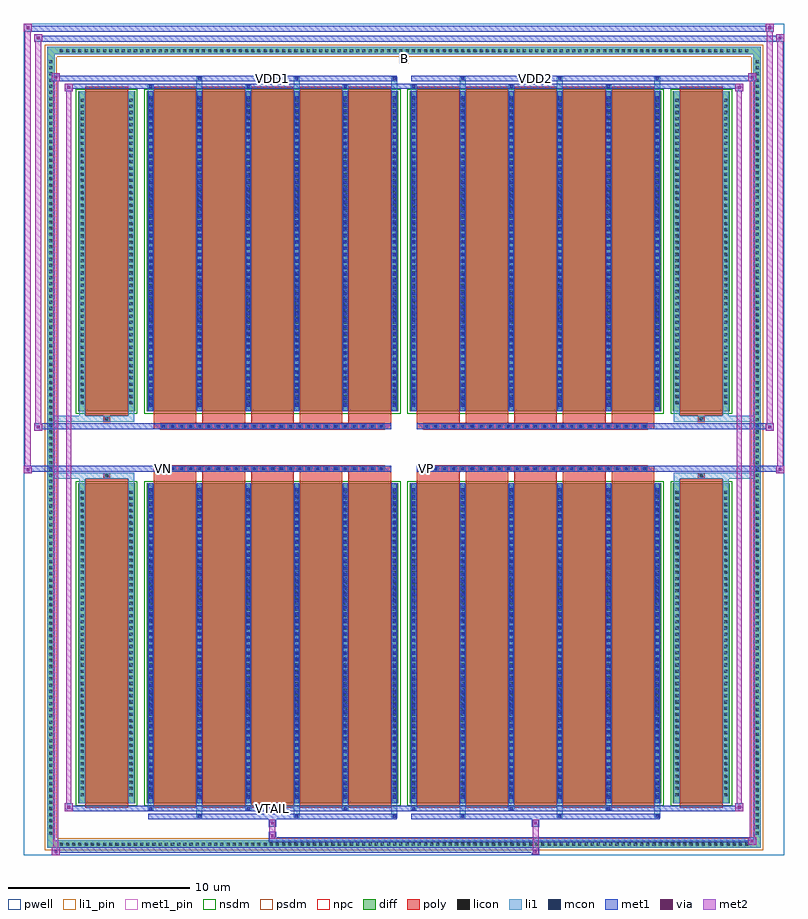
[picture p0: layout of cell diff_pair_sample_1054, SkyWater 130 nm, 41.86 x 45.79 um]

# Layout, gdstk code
import gdstk
lib = gdstk.Library(unit=1e-6, precision=5e-09)
def R(c, l, rs):  # rectangles x0, y0, x1, y1
    for r in rs: c.add(gdstk.rectangle(r[:2], r[2:], *l))
def A(c, l, x, y, w, h, nx, ny, dx, dy):  # array of equal rectangles
    R(c, l, [(x+i*dx, y+j*dy, x+i*dx+w, y+j*dy+h) for i in range(nx) for j in range(ny)])
def P(c, l, *ps):  # polygons
    for p in ps: c.add(gdstk.Polygon(p, *l))
pwell = (64, 44)
diff = (65, 20)
poly = (66, 20)
licon = (66, 44)
li1_pin = (67, 16)
li1 = (67, 20)
mcon = (67, 44)
met1_pin = (68, 16)
met1 = (68, 20)
via = (68, 44)
met2 = (69, 20)
nsdm = (93, 44)
psdm = (94, 20)
npc = (95, 20)

diff_pair_sample_1054 = lib.new_cell('diff_pair_sample_1054')
R(diff_pair_sample_1054, pwell, [(-20.93,-22.46,20.93,23.33), (-18.25,-20.65,-0.01,-0.805), (0.01,-20.65,18.25,-0.805), (-18.25,0.805,-0.01,20.65), (0.01,0.805,18.25,20.65)])
A(diff_pair_sample_1054, diff, -19.075, -22.06, 0.41, 0.41, 112, 2, 0.34, 43.71)
A(diff_pair_sample_1054, diff, -19.66, -21.455, 0.41, 0.41, 1, 126, 0, 0.34)
A(diff_pair_sample_1054, diff, 19.25, -21.455, 0.41, 0.41, 1, 126, 0, 0.34)
R(diff_pair_sample_1054, diff, [(-19.075,-22.06,19.075,-21.65), (-19.66,-21.455,-19.25,21.455), (19.25,-21.455,19.66,21.455), (-17.94,-19.605,-14.81,-1.985), (-14.17,-19.605,-0.32,-1.985), (0.32,-19.605,14.17,-1.985), (14.81,-19.605,17.94,-1.985), (-17.94,1.985,-14.81,19.605), (-14.17,1.985,-0.32,19.605), (0.32,1.985,14.17,19.605), (14.81,1.985,17.94,19.605), (-19.075,21.65,19.075,22.06)])
P(diff_pair_sample_1054, diff, [(19.66,22.06),(-19.66,22.06),(-19.66,-21.65),(-19.25,-21.65),(-19.25,21.65),(19.25,21.65),(19.25,-21.65),(-19.25,-21.65),(-19.66,-21.65),(-19.66,-22.06),(19.66,-22.06)])
A(diff_pair_sample_1054, poly, -13.78, -19.855, 2.35, 18.12, 5, 2, 2.68, 21.59)
A(diff_pair_sample_1054, poly, 0.71, -19.855, 2.35, 18.12, 5, 2, 2.68, 21.59)
A(diff_pair_sample_1054, poly, -13.78, -1.735, 2.35, 0.4, 5, 2, 2.68, 3.07)
A(diff_pair_sample_1054, poly, 0.71, -1.735, 2.35, 0.4, 5, 2, 2.68, 3.07)
A(diff_pair_sample_1054, poly, -13.41, -1.335, 0.33, 0.33, 25, 2, 0.5, 2.34)
A(diff_pair_sample_1054, poly, 1.08, -1.335, 0.33, 0.33, 25, 2, 0.5, 2.34)
R(diff_pair_sample_1054, poly, [(-17.55,-19.855,-15.2,-1.735), (15.2,-19.855,17.55,-1.735), (-16.54,-1.735,-16.21,-1.405), (-16.54,-1.735,-16.21,-1.405), (16.21,-1.735,16.54,-1.405), (16.21,-1.735,16.54,-1.405), (-13.78,-1.335,-0.71,-1.005), (0.71,-1.335,13.78,-1.005), (-13.78,1.005,-0.71,1.335), (0.71,1.005,13.78,1.335), (-16.54,1.405,-16.21,1.735), (-16.54,1.405,-16.21,1.735), (16.21,1.405,16.54,1.735), (16.21,1.405,16.54,1.735), (-17.55,1.735,-15.2,19.855), (15.2,1.735,17.55,19.855)])
A(diff_pair_sample_1054, licon, -18.955, -21.94, 0.17, 0.17, 112, 2, 0.34, 43.71)
A(diff_pair_sample_1054, licon, -19.54, -21.335, 0.17, 0.17, 1, 126, 0, 0.34)
A(diff_pair_sample_1054, licon, 19.37, -21.335, 0.17, 0.17, 1, 126, 0, 0.34)
A(diff_pair_sample_1054, licon, -17.8, -19.21, 0.17, 0.17, 1, 50, 0, 0.34)
A(diff_pair_sample_1054, licon, -15.12, -19.21, 0.17, 0.17, 1, 50, 0, 0.34)
A(diff_pair_sample_1054, licon, -14.03, -19.21, 0.17, 0.17, 6, 50, 2.68, 0.34)
A(diff_pair_sample_1054, licon, 0.46, -19.21, 0.17, 0.17, 6, 50, 2.68, 0.34)
A(diff_pair_sample_1054, licon, 14.95, -19.21, 0.17, 0.17, 1, 50, 0, 0.34)
A(diff_pair_sample_1054, licon, 17.63, -19.21, 0.17, 0.17, 1, 50, 0, 0.34)
A(diff_pair_sample_1054, licon, -13.33, -1.255, 0.17, 0.17, 25, 2, 0.5, 2.34)
A(diff_pair_sample_1054, licon, 1.16, -1.255, 0.17, 0.17, 25, 2, 0.5, 2.34)
A(diff_pair_sample_1054, licon, -17.8, 2.38, 0.17, 0.17, 1, 50, 0, 0.34)
A(diff_pair_sample_1054, licon, -15.12, 2.38, 0.17, 0.17, 1, 50, 0, 0.34)
A(diff_pair_sample_1054, licon, -14.03, 2.38, 0.17, 0.17, 6, 50, 2.68, 0.34)
A(diff_pair_sample_1054, licon, 0.46, 2.38, 0.17, 0.17, 6, 50, 2.68, 0.34)
A(diff_pair_sample_1054, licon, 14.95, 2.38, 0.17, 0.17, 1, 50, 0, 0.34)
A(diff_pair_sample_1054, licon, 17.63, 2.38, 0.17, 0.17, 1, 50, 0, 0.34)
R(diff_pair_sample_1054, licon, [(-16.46,-1.655,-16.29,-1.485), (16.29,-1.655,16.46,-1.485), (-16.46,1.485,-16.29,1.655), (16.29,1.485,16.46,1.655)])
R(diff_pair_sample_1054, li1_pin, [(-0.25,21.15,0.25,21.65)])
A(diff_pair_sample_1054, li1, -19.035, -22.02, 0.33, 0.33, 112, 2, 0.34, 43.71)
A(diff_pair_sample_1054, li1, -19.62, -21.415, 0.33, 0.33, 1, 126, 0, 0.34)
A(diff_pair_sample_1054, li1, 19.29, -21.415, 0.33, 0.33, 1, 126, 0, 0.34)
A(diff_pair_sample_1054, li1, -11.43, -20.41, 0.33, 0.805, 3, 2, 5.36, 40.015)
A(diff_pair_sample_1054, li1, -11.35, -20.41, 0.17, 0.17, 3, 2, 5.36, 40.65)
A(diff_pair_sample_1054, li1, 3.06, -20.41, 0.33, 0.805, 3, 2, 5.36, 40.015)
A(diff_pair_sample_1054, li1, 3.14, -20.41, 0.17, 0.17, 3, 2, 5.36, 40.65)
A(diff_pair_sample_1054, li1, -14.11, -19.98, 0.33, 0.375, 3, 2, 5.36, 39.585)
A(diff_pair_sample_1054, li1, -14.03, -19.98, 0.17, 0.17, 3, 2, 5.36, 39.79)
A(diff_pair_sample_1054, li1, 0.38, -19.98, 0.33, 0.375, 3, 2, 5.36, 39.585)
A(diff_pair_sample_1054, li1, 0.46, -19.98, 0.17, 0.17, 3, 2, 5.36, 39.79)
A(diff_pair_sample_1054, li1, -14.11, -19.605, 0.33, 17.62, 6, 2, 2.68, 21.59)
A(diff_pair_sample_1054, li1, 0.38, -19.605, 0.33, 17.62, 6, 2, 2.68, 21.59)
A(diff_pair_sample_1054, li1, -14.03, -19.34, 0.17, 0.17, 6, 48, 2.68, 0.36)
A(diff_pair_sample_1054, li1, -14.03, -19.34, 0.17, 17.09, 6, 2, 2.68, 21.59)
A(diff_pair_sample_1054, li1, 0.46, -19.34, 0.17, 0.17, 6, 48, 2.68, 0.36)
A(diff_pair_sample_1054, li1, 0.46, -19.34, 0.17, 17.09, 6, 2, 2.68, 21.59)
A(diff_pair_sample_1054, li1, -17.88, -19.29, 0.33, 0.33, 1, 50, 0, 0.34)
A(diff_pair_sample_1054, li1, -15.2, -19.29, 0.33, 0.33, 1, 50, 0, 0.34)
A(diff_pair_sample_1054, li1, -14.11, -19.29, 0.33, 0.33, 6, 50, 2.68, 0.34)
A(diff_pair_sample_1054, li1, 0.38, -19.29, 0.33, 0.33, 6, 50, 2.68, 0.34)
A(diff_pair_sample_1054, li1, 14.87, -19.29, 0.33, 0.33, 1, 50, 0, 0.34)
A(diff_pair_sample_1054, li1, 17.55, -19.29, 0.33, 0.33, 1, 50, 0, 0.34)
A(diff_pair_sample_1054, li1, -13.41, -1.335, 0.33, 0.33, 25, 2, 0.5, 2.34)
A(diff_pair_sample_1054, li1, 1.08, -1.335, 0.33, 0.33, 25, 2, 0.5, 2.34)
A(diff_pair_sample_1054, li1, -14.03, 2.25, 0.17, 0.17, 6, 48, 2.68, 0.36)
A(diff_pair_sample_1054, li1, 0.46, 2.25, 0.17, 0.17, 6, 48, 2.68, 0.36)
A(diff_pair_sample_1054, li1, -17.88, 2.3, 0.33, 0.33, 1, 50, 0, 0.34)
A(diff_pair_sample_1054, li1, -15.2, 2.3, 0.33, 0.33, 1, 50, 0, 0.34)
A(diff_pair_sample_1054, li1, -14.11, 2.3, 0.33, 0.33, 6, 50, 2.68, 0.34)
A(diff_pair_sample_1054, li1, 0.38, 2.3, 0.33, 0.33, 6, 50, 2.68, 0.34)
A(diff_pair_sample_1054, li1, 14.87, 2.3, 0.33, 0.33, 1, 50, 0, 0.34)
A(diff_pair_sample_1054, li1, 17.55, 2.3, 0.33, 0.33, 1, 50, 0, 0.34)
R(diff_pair_sample_1054, li1, [(-19.66,-22.06,-19.25,-21.65), (-19.66,-22.06,-19.25,-21.65), (-19.25,-22.06,19.25,-21.65), (19.25,-22.06,19.66,-21.65), (19.25,-22.06,19.66,-21.65), (-19.66,-21.65,-19.25,21.65), (19.25,-21.65,19.66,21.65), (-17.88,-19.605,-17.55,-1.985), (-15.2,-19.605,-14.87,-1.985), (14.87,-19.605,15.2,-1.985), (17.55,-19.605,17.88,-1.985), (-17.88,-1.985,-17.55,-1.405), (-15.2,-1.985,-14.87,-1.405), (14.87,-1.985,15.2,-1.405), (17.55,-1.985,17.88,-1.405), (-19.66,-1.735,-16.54,-1.405), (-17.88,-1.735,-16.54,-1.405), (-16.54,-1.735,-16.21,-1.405), (-16.21,-1.735,-14.87,-1.405), (14.87,-1.735,16.21,-1.405), (16.21,-1.735,16.54,-1.405), (16.21,-1.735,19.66,-1.405), (16.54,-1.735,17.88,-1.405), (-19.66,1.405,-16.54,1.735), (-17.88,1.405,-16.54,1.735), (-17.88,1.405,-17.55,1.985), (-16.54,1.405,-16.21,1.735), (-16.21,1.405,-14.87,1.735), (-15.2,1.405,-14.87,1.985), (14.87,1.405,16.21,1.735), (14.87,1.405,15.2,1.985), (16.21,1.405,16.54,1.735), (16.21,1.405,19.66,1.735), (16.54,1.405,17.88,1.735), (17.55,1.405,17.88,1.985), (-17.88,1.985,-17.55,19.605), (-15.2,1.985,-14.87,19.605), (14.87,1.985,15.2,19.605), (17.55,1.985,17.88,19.605), (-19.66,21.65,-19.25,22.06), (-19.66,21.65,-19.25,22.06), (-19.25,21.65,19.25,22.06), (19.25,21.65,19.66,22.06), (19.25,21.65,19.66,22.06)])
A(diff_pair_sample_1054, mcon, -11.35, -20.41, 0.17, 0.17, 3, 2, 5.36, 40.65)
A(diff_pair_sample_1054, mcon, 3.14, -20.41, 0.17, 0.17, 3, 2, 5.36, 40.65)
A(diff_pair_sample_1054, mcon, -14.03, -19.98, 0.17, 0.17, 3, 2, 5.36, 39.79)
A(diff_pair_sample_1054, mcon, 0.46, -19.98, 0.17, 0.17, 3, 2, 5.36, 39.79)
A(diff_pair_sample_1054, mcon, -14.03, -19.34, 0.17, 0.17, 6, 48, 2.68, 0.36)
A(diff_pair_sample_1054, mcon, 0.46, -19.34, 0.17, 0.17, 6, 48, 2.68, 0.36)
A(diff_pair_sample_1054, mcon, -13.33, -1.255, 0.17, 0.17, 25, 2, 0.5, 2.34)
A(diff_pair_sample_1054, mcon, 1.16, -1.255, 0.17, 0.17, 25, 2, 0.5, 2.34)
A(diff_pair_sample_1054, mcon, -14.03, 2.25, 0.17, 0.17, 6, 48, 2.68, 0.36)
A(diff_pair_sample_1054, mcon, 0.46, 2.25, 0.17, 0.17, 6, 48, 2.68, 0.36)
R(diff_pair_sample_1054, met1_pin, [(-7.38,-20.02,-7.11,-19.75), (-13.38,-1.295,-13.11,-1.025), (1.11,-1.295,1.38,-1.025), (-7.38,20.2,-7.11,20.47), (7.11,20.2,7.38,20.47)])
A(diff_pair_sample_1054, met1, -11.41, -20.47, 0.29, 0.29, 3, 2, 5.36, 40.65)
A(diff_pair_sample_1054, met1, 3.08, -20.47, 0.29, 0.29, 3, 2, 5.36, 40.65)
A(diff_pair_sample_1054, met1, -14.09, -20.04, 0.29, 0.29, 3, 2, 5.36, 39.79)
A(diff_pair_sample_1054, met1, 0.4, -20.04, 0.29, 0.29, 3, 2, 5.36, 39.79)
A(diff_pair_sample_1054, met1, -14.09, -19.605, 0.29, 17.62, 6, 2, 2.68, 21.59)
A(diff_pair_sample_1054, met1, 0.4, -19.605, 0.29, 17.62, 6, 2, 2.68, 21.59)
A(diff_pair_sample_1054, met1, -14.09, -19.4, 0.29, 0.29, 6, 48, 2.68, 0.36)
A(diff_pair_sample_1054, met1, 0.4, -19.4, 0.29, 0.29, 6, 48, 2.68, 0.36)
A(diff_pair_sample_1054, met1, -13.39, -1.315, 0.29, 0.29, 25, 2, 0.5, 2.34)
A(diff_pair_sample_1054, met1, 1.1, -1.315, 0.29, 0.29, 25, 2, 0.5, 2.34)
A(diff_pair_sample_1054, met1, -14.09, 2.19, 0.29, 0.29, 6, 48, 2.68, 0.36)
A(diff_pair_sample_1054, met1, 0.4, 2.19, 0.29, 0.29, 6, 48, 2.68, 0.36)
R(diff_pair_sample_1054, met1, [(-19.39,-22.46,-18.96,-22.03), (7.03,-22.46,7.46,-22.03), (-19.39,-22.32,7.46,-22.03), (18.96,-21.89,19.39,-21.46), (-7.46,-21.75,19.39,-21.46), (-7.46,-21.61,-7.03,-21.18), (-7.46,-20.9,-7.03,-20.47), (7.03,-20.9,7.46,-20.47), (-14.09,-20.47,-0.4,-20.18), (0.4,-20.47,14.09,-20.18), (-18.68,-20.04,-18.25,-19.61), (-18.68,-20.04,-14.09,-19.75), (-14.09,-20.04,-0.4,-19.75), (-0.4,-20.04,0.4,-19.75), (0.4,-20.04,14.09,-19.75), (14.09,-20.04,18.68,-19.75), (18.25,-20.04,18.68,-19.61), (-20.93,-1.435,-20.5,-1.005), (20.5,-1.435,20.93,-1.005), (-20.93,-1.335,-0.71,-1.005), (-13.78,-1.335,-0.71,-1.005), (0.71,-1.335,13.78,-1.005), (0.71,-1.335,20.93,-1.005), (-20.36,0.905,-19.93,1.335), (19.93,0.905,20.36,1.335), (-20.36,1.005,-13.78,1.335), (-13.78,1.005,-0.71,1.335), (0.71,1.005,13.78,1.335), (13.78,1.005,20.36,1.335), (-18.68,19.61,-18.25,20.04), (18.25,19.61,18.68,20.04), (-18.68,19.75,-14.09,20.04), (-14.09,19.75,-0.4,20.04), (-0.4,19.75,0.4,20.04), (0.4,19.75,14.09,20.04), (14.09,19.75,18.68,20.04), (-19.39,20.18,-18.96,20.61), (-19.39,20.18,-14.09,20.47), (-14.09,20.18,-0.4,20.47), (0.4,20.18,14.09,20.47), (14.09,20.18,19.39,20.47), (18.96,20.18,19.39,20.61), (-20.36,22.33,-19.93,22.76), (-20.36,22.33,-18.25,22.66), (-18.25,22.33,18.25,22.66), (18.25,22.33,20.93,22.66), (20.5,22.33,20.93,22.76), (-20.93,22.9,-20.5,23.33), (-20.93,22.9,-18.25,23.23), (-18.25,22.9,18.25,23.23), (18.25,22.9,20.36,23.23), (19.93,22.9,20.36,23.33)])
R(diff_pair_sample_1054, via, [(-19.25,-22.32,-19.1,-22.17), (7.17,-22.32,7.32,-22.17), (19.1,-21.75,19.25,-21.6), (-7.32,-21.47,-7.17,-21.32), (-7.32,-20.76,-7.17,-20.61), (7.17,-20.76,7.32,-20.61), (-18.54,-19.9,-18.39,-19.75), (18.39,-19.9,18.54,-19.75), (-20.79,-1.295,-20.64,-1.145), (20.64,-1.295,20.79,-1.145), (-20.22,1.045,-20.07,1.195), (20.07,1.045,20.22,1.195), (-18.54,19.75,-18.39,19.9), (18.39,19.75,18.54,19.9), (-19.25,20.32,-19.1,20.47), (19.1,20.32,19.25,20.47), (-20.22,22.47,-20.07,22.62), (20.64,22.47,20.79,22.62), (-20.79,23.04,-20.64,23.19), (20.07,23.04,20.22,23.19)])
R(diff_pair_sample_1054, met2, [(-19.39,-22.46,-18.96,-22.03), (-19.32,-22.46,-19.03,20.61), (-19.03,-22.46,-18.96,-22.03), (-19.34,-22.41,-19.01,-22.08), (7.08,-22.41,7.41,-22.08), (7.08,-22.08,7.41,-20.85), (18.96,-21.89,19.39,-21.46), (19.03,-21.89,19.32,20.61), (19.32,-21.89,19.39,-21.46), (19.01,-21.84,19.34,-21.51), (-7.41,-21.56,-7.08,-21.23), (-7.41,-21.23,-7.08,-20.85), (-7.41,-20.85,-7.08,-20.52), (7.08,-20.85,7.41,-20.52), (-18.68,-20.04,-18.25,-19.61), (-18.61,-20.04,-18.32,20.04), (-18.32,-20.04,-18.25,-19.61), (18.25,-20.04,18.68,-19.61), (18.32,-20.04,18.61,20.04), (18.61,-20.04,18.68,-19.61), (-18.63,-19.99,-18.3,-19.66), (18.3,-19.99,18.63,-19.66), (-20.93,-1.435,-20.5,-1.005), (-20.88,-1.435,-20.55,23.33), (-20.55,-1.435,-20.5,-1.005), (20.5,-1.435,20.93,-1.005), (20.55,-1.435,20.88,22.76), (20.88,-1.435,20.93,-1.005), (-20.88,-1.385,-20.55,-1.055), (20.55,-1.385,20.88,-1.055), (-20.36,0.905,-19.93,1.335), (-20.31,0.905,-19.98,22.76), (-19.98,0.905,-19.93,1.335), (19.93,0.905,20.36,1.335), (19.98,0.905,20.31,23.33), (20.31,0.905,20.36,1.335), (-20.31,0.955,-19.98,1.285), (19.98,0.955,20.31,1.285), (-18.68,19.61,-18.25,20.04), (-18.32,19.61,-18.25,20.04), (18.25,19.61,18.68,20.04), (18.61,19.61,18.68,20.04), (-18.63,19.66,-18.3,19.99), (18.3,19.66,18.63,19.99), (-19.39,20.18,-18.96,20.61), (-19.03,20.18,-18.96,20.61), (18.96,20.18,19.39,20.61), (19.32,20.18,19.39,20.61), (-19.34,20.23,-19.01,20.56), (19.01,20.23,19.34,20.56), (-20.36,22.33,-19.93,22.76), (-19.98,22.33,-19.93,22.76), (20.5,22.33,20.93,22.76), (20.88,22.33,20.93,22.76), (-20.31,22.38,-19.98,22.71), (20.55,22.38,20.88,22.71), (-20.93,22.9,-20.5,23.33), (-20.55,22.9,-20.5,23.33), (19.93,22.9,20.36,23.33), (20.31,22.9,20.36,23.33), (-20.88,22.95,-20.55,23.28), (19.98,22.95,20.31,23.28)])
R(diff_pair_sample_1054, nsdm, [(-18.07,-19.735,-14.68,-1.855), (-14.3,-19.735,-0.19,-1.855), (0.19,-19.735,14.3,-1.855), (14.68,-19.735,18.07,-1.855), (-18.07,1.855,-14.68,19.735), (-14.3,1.855,-0.19,19.735), (0.19,1.855,14.3,19.735), (14.68,1.855,18.07,19.735)])
P(diff_pair_sample_1054, psdm, [(19.79,22.19),(-19.79,22.19),(-19.79,-21.52),(-19.12,-21.52),(-19.12,21.52),(19.12,21.52),(19.12,-21.52),(-19.12,-21.52),(-19.79,-21.52),(-19.79,-22.19),(19.79,-22.19)])
A(diff_pair_sample_1054, npc, -13.43, -1.355, 0.37, 0.37, 25, 2, 0.5, 2.34)
A(diff_pair_sample_1054, npc, 1.06, -1.355, 0.37, 0.37, 25, 2, 0.5, 2.34)
R(diff_pair_sample_1054, npc, [(-16.56,-1.755,-16.19,-1.385), (16.19,-1.755,16.56,-1.385), (-13.43,-1.355,-12.56,-0.985), (-13.43,-1.355,-12.56,-0.985), (-12.93,-1.355,-12.06,-0.985), (-12.93,-1.355,-12.06,-0.985), (-12.43,-1.355,-11.56,-0.985), (-12.43,-1.355,-11.56,-0.985), (-11.93,-1.355,-11.06,-0.985), (-11.93,-1.355,-11.06,-0.985), (-11.43,-1.355,-10.56,-0.985), (-11.43,-1.355,-10.56,-0.985), (-10.93,-1.355,-10.06,-0.985), (-10.93,-1.355,-10.06,-0.985), (-10.43,-1.355,-9.56,-0.985), (-10.43,-1.355,-9.56,-0.985), (-9.93,-1.355,-9.06,-0.985), (-9.93,-1.355,-9.06,-0.985), (-9.43,-1.355,-8.56,-0.985), (-9.43,-1.355,-8.56,-0.985), (-8.93,-1.355,-8.06,-0.985), (-8.93,-1.355,-8.06,-0.985), (-8.43,-1.355,-7.56,-0.985), (-8.43,-1.355,-7.56,-0.985), (-7.93,-1.355,-7.06,-0.985), (-7.93,-1.355,-7.06,-0.985), (-7.43,-1.355,-6.56,-0.985), (-7.43,-1.355,-6.56,-0.985), (-6.93,-1.355,-6.06,-0.985), (-6.93,-1.355,-6.06,-0.985), (-6.43,-1.355,-5.56,-0.985), (-6.43,-1.355,-5.56,-0.985), (-5.93,-1.355,-5.06,-0.985), (-5.93,-1.355,-5.06,-0.985), (-5.43,-1.355,-4.56,-0.985), (-5.43,-1.355,-4.56,-0.985), (-4.93,-1.355,-4.06,-0.985), (-4.93,-1.355,-4.06,-0.985), (-4.43,-1.355,-3.56,-0.985), (-4.43,-1.355,-3.56,-0.985), (-3.93,-1.355,-3.06,-0.985), (-3.93,-1.355,-3.06,-0.985), (-3.43,-1.355,-2.56,-0.985), (-3.43,-1.355,-2.56,-0.985), (-2.93,-1.355,-2.06,-0.985), (-2.93,-1.355,-2.06,-0.985), (-2.43,-1.355,-1.56,-0.985), (-2.43,-1.355,-1.56,-0.985), (-1.93,-1.355,-1.06,-0.985), (-1.93,-1.355,-1.06,-0.985), (1.06,-1.355,1.93,-0.985), (1.06,-1.355,1.93,-0.985), (1.56,-1.355,2.43,-0.985), (1.56,-1.355,2.43,-0.985), (2.06,-1.355,2.93,-0.985), (2.06,-1.355,2.93,-0.985), (2.56,-1.355,3.43,-0.985), (2.56,-1.355,3.43,-0.985), (3.06,-1.355,3.93,-0.985), (3.06,-1.355,3.93,-0.985), (3.56,-1.355,4.43,-0.985), (3.56,-1.355,4.43,-0.985), (4.06,-1.355,4.93,-0.985), (4.06,-1.355,4.93,-0.985), (4.56,-1.355,5.43,-0.985), (4.56,-1.355,5.43,-0.985), (5.06,-1.355,5.93,-0.985), (5.06,-1.355,5.93,-0.985), (5.56,-1.355,6.43,-0.985), (5.56,-1.355,6.43,-0.985), (6.06,-1.355,6.93,-0.985), (6.06,-1.355,6.93,-0.985), (6.56,-1.355,7.43,-0.985), (6.56,-1.355,7.43,-0.985), (7.06,-1.355,7.93,-0.985), (7.06,-1.355,7.93,-0.985), (7.56,-1.355,8.43,-0.985), (7.56,-1.355,8.43,-0.985), (8.06,-1.355,8.93,-0.985), (8.06,-1.355,8.93,-0.985), (8.56,-1.355,9.43,-0.985), (8.56,-1.355,9.43,-0.985), (9.06,-1.355,9.93,-0.985), (9.06,-1.355,9.93,-0.985), (9.56,-1.355,10.43,-0.985), (9.56,-1.355,10.43,-0.985), (10.06,-1.355,10.93,-0.985), (10.06,-1.355,10.93,-0.985), (10.56,-1.355,11.43,-0.985), (10.56,-1.355,11.43,-0.985), (11.06,-1.355,11.93,-0.985), (11.06,-1.355,11.93,-0.985), (11.56,-1.355,12.43,-0.985), (11.56,-1.355,12.43,-0.985), (12.06,-1.355,12.93,-0.985), (12.06,-1.355,12.93,-0.985), (12.56,-1.355,13.43,-0.985), (12.56,-1.355,13.43,-0.985), (-13.43,0.985,-12.56,1.355), (-13.43,0.985,-12.56,1.355), (-12.93,0.985,-12.06,1.355), (-12.93,0.985,-12.06,1.355), (-12.43,0.985,-11.56,1.355), (-12.43,0.985,-11.56,1.355), (-11.93,0.985,-11.06,1.355), (-11.93,0.985,-11.06,1.355), (-11.43,0.985,-10.56,1.355), (-11.43,0.985,-10.56,1.355), (-10.93,0.985,-10.06,1.355), (-10.93,0.985,-10.06,1.355), (-10.43,0.985,-9.56,1.355), (-10.43,0.985,-9.56,1.355), (-9.93,0.985,-9.06,1.355), (-9.93,0.985,-9.06,1.355), (-9.43,0.985,-8.56,1.355), (-9.43,0.985,-8.56,1.355), (-8.93,0.985,-8.06,1.355), (-8.93,0.985,-8.06,1.355), (-8.43,0.985,-7.56,1.355), (-8.43,0.985,-7.56,1.355), (-7.93,0.985,-7.06,1.355), (-7.93,0.985,-7.06,1.355), (-7.43,0.985,-6.56,1.355), (-7.43,0.985,-6.56,1.355), (-6.93,0.985,-6.06,1.355), (-6.93,0.985,-6.06,1.355), (-6.43,0.985,-5.56,1.355), (-6.43,0.985,-5.56,1.355), (-5.93,0.985,-5.06,1.355), (-5.93,0.985,-5.06,1.355), (-5.43,0.985,-4.56,1.355), (-5.43,0.985,-4.56,1.355), (-4.93,0.985,-4.06,1.355), (-4.93,0.985,-4.06,1.355), (-4.43,0.985,-3.56,1.355), (-4.43,0.985,-3.56,1.355), (-3.93,0.985,-3.06,1.355), (-3.93,0.985,-3.06,1.355), (-3.43,0.985,-2.56,1.355), (-3.43,0.985,-2.56,1.355), (-2.93,0.985,-2.06,1.355), (-2.93,0.985,-2.06,1.355), (-2.43,0.985,-1.56,1.355), (-2.43,0.985,-1.56,1.355), (-1.93,0.985,-1.06,1.355), (-1.93,0.985,-1.06,1.355), (1.06,0.985,1.93,1.355), (1.06,0.985,1.93,1.355), (1.56,0.985,2.43,1.355), (1.56,0.985,2.43,1.355), (2.06,0.985,2.93,1.355), (2.06,0.985,2.93,1.355), (2.56,0.985,3.43,1.355), (2.56,0.985,3.43,1.355), (3.06,0.985,3.93,1.355), (3.06,0.985,3.93,1.355), (3.56,0.985,4.43,1.355), (3.56,0.985,4.43,1.355), (4.06,0.985,4.93,1.355), (4.06,0.985,4.93,1.355), (4.56,0.985,5.43,1.355), (4.56,0.985,5.43,1.355), (5.06,0.985,5.93,1.355), (5.06,0.985,5.93,1.355), (5.56,0.985,6.43,1.355), (5.56,0.985,6.43,1.355), (6.06,0.985,6.93,1.355), (6.06,0.985,6.93,1.355), (6.56,0.985,7.43,1.355), (6.56,0.985,7.43,1.355), (7.06,0.985,7.93,1.355), (7.06,0.985,7.93,1.355), (7.56,0.985,8.43,1.355), (7.56,0.985,8.43,1.355), (8.06,0.985,8.93,1.355), (8.06,0.985,8.93,1.355), (8.56,0.985,9.43,1.355), (8.56,0.985,9.43,1.355), (9.06,0.985,9.93,1.355), (9.06,0.985,9.93,1.355), (9.56,0.985,10.43,1.355), (9.56,0.985,10.43,1.355), (10.06,0.985,10.93,1.355), (10.06,0.985,10.93,1.355), (10.56,0.985,11.43,1.355), (10.56,0.985,11.43,1.355), (11.06,0.985,11.93,1.355), (11.06,0.985,11.93,1.355), (11.56,0.985,12.43,1.355), (11.56,0.985,12.43,1.355), (12.06,0.985,12.93,1.355), (12.06,0.985,12.93,1.355), (12.56,0.985,13.43,1.355), (12.56,0.985,13.43,1.355), (-16.56,1.385,-16.19,1.755), (16.19,1.385,16.56,1.755)])
diff_pair_sample_1054.add(gdstk.Label('VTAIL', (-7.245,-19.885), layer=68, texttype=5))
diff_pair_sample_1054.add(gdstk.Label('VN', (-13.245,-1.16), layer=68, texttype=5))
diff_pair_sample_1054.add(gdstk.Label('VP', (1.245,-1.16), layer=68, texttype=5))
diff_pair_sample_1054.add(gdstk.Label('B', (0,21.4), layer=67, texttype=5))
diff_pair_sample_1054.add(gdstk.Label('VDD2', (7.245,20.335), layer=68, texttype=5))
diff_pair_sample_1054.add(gdstk.Label('VDD1', (-7.245,20.335), layer=68, texttype=5))

lib.write_gds('diff_pair_sample_1054.gds')
